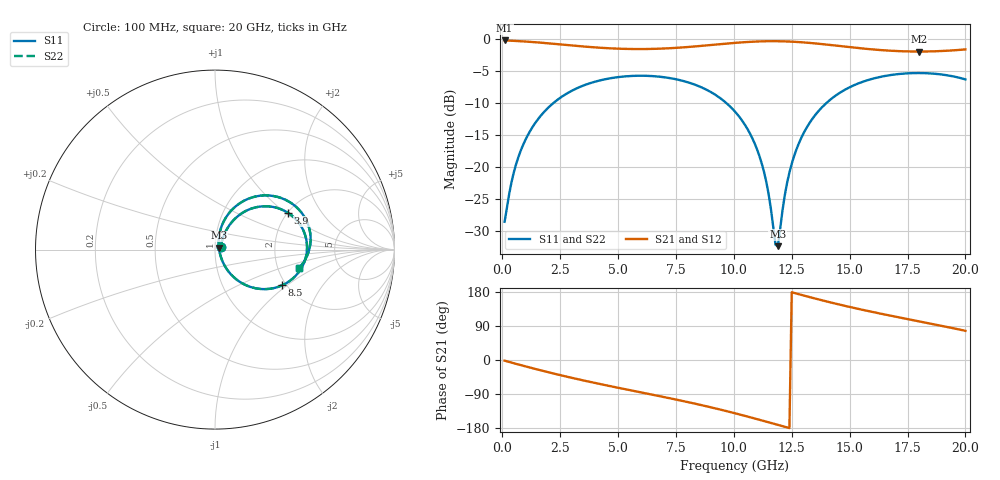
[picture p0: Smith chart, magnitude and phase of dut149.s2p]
! Touchstone file exported from HFSS 2026.1.0
!  File:  C:/ffzhzh/LocalFiles/Ansys_Project_Files/temp_train_TSV_RDL_149_1783051980_45820.aedt
!  Generated:  12:22:38 PM Jul  3, 2026
!  Design:  TSV_RDL
!  Project:  temp_train_TSV_RDL_149_1783051980_45820
! Variables:
!  h_bsmrdl = 5.58um
!  h_ox = 20um
!  h_rdl = 5um
!  h_sub = 71.91um
!  h_tmrdl = 2.12um
!  h_tsv = 71.91um
!  h_via = 3um
!  l_bsmrdl = 112.78um
!  l_sub = 4723.62um
!  l_tmrdl = 963.41um
!  m_sub = 200um
!  pitch = 48.25um
!  r_tsv = 13.75um
!  s_tmrdl = 10um
!  w_bsmrdl = 23.95um
!  w_sub = 500um
!  w_tmrdl = 19.93um
!  x_tsv_center1 = 973.375um
!  x_tsv_center2 = 1110.105um
!  x_tsv_center3 = 2093.445um
!  x_tsv_center4 = 2230.175um
!  x_tsv_center5 = 3213.515um
!  x_tsv_center6 = 3350.245um
# GHz S MA R 50.000000
! Terminal data exported
! Port[1] = TM_RDL1_1_T1
! Port[2] = TM_RDL5_1_T1
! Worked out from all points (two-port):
!   200 points, 100 MHz to 20 GHz, reference 50 ohm
!   highest |S21| = -0.29 dB at 100 MHz (marker M1); lowest = -2.0 dB at 18 GHz (marker M2)
!   |S21| within 3 dB of the highest: start of sweep to end of sweep
!   lowest |S11| = -32.4 dB at 11.9 GHz (marker M3), VSWR 1.05, Z = 52.2 + j1.03 ohm
!   |S11| at or under -10 dB: start of sweep to 2.224 GHz; 9.658 GHz to 14.01 GHz (4.355 GHz wide, 36.8 % of centre)
!   |S22| runs from -32.3 to -5.4 dB; largest |S21 - S12| = 1.7e-14
!   S11 on the Smith chart (normalised r, x): 100 MHz: 1.07, +0.03; 3.9 GHz: 2.01, +1.04; 8.5 GHz: 1.91, -0.92; 20 GHz: 2.64, -0.69
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0.1  0.03726 26.0  0.9669 -1.8  0.9669 -1.8  0.03726 26.0
! Gamma 0 0 0 0
! Port Impedance 50 0 50 0
0.6  0.1054 59.1  0.958 -10.3  0.958 -10.3  0.1054 59.1
1.2  0.1899 58.0  0.9431 -20.0  0.9431 -20.0  0.1899 58.0
2.2  0.3137 47.5  0.9113 -35.5  0.9113 -35.5  0.3136 47.5
3.5  0.4301 31.6  0.8676 -53.9  0.8676 -53.9  0.4301 31.6
3.9  0.4553 26.8  0.8562 -59.2  0.8562 -59.2  0.4553 26.8
5.4  0.5088 9.2  0.8302 -78.2  0.8302 -78.2  0.5088 9.2
6.8  0.5042 -7.1  0.8342 -95.5  0.8342 -95.5  0.5042 -7.1
8.5  0.4244 -27.9  0.8739 -117.7  0.8739 -117.7  0.4244 -27.9
10.1  0.263 -49.0  0.9273 -141.3  0.9273 -141.3  0.263 -48.9
10.7  0.1812 -56.1  0.9431 -151.0  0.9431 -151.0  0.1812 -56.1
11.2  0.1069 -59.1  0.9515 -159.3  0.9515 -159.3  0.1069 -59.0
11.5  0.06155 -54.5  0.954 -164.4  0.954 -164.4  0.06157 -54.4
11.8  0.02466 -12.7  0.9543 -169.5  0.9543 -169.5  0.02476 -12.6
11.9  0.02405 24.2  0.9539 -171.2  0.9539 -171.2  0.02417 24.2
12.2  0.05997 69.5  0.9512 -176.2  0.9512 -176.2  0.06004 69.4
12.5  0.1056 74.6  0.9464 178.7  0.9464 178.7  0.1056 74.5
13.4  0.2378 67.2  0.9211 163.9  0.9211 163.9  0.2379 67.2
14.8  0.3993 49.0  0.8655 142.8  0.8655 142.8  0.3993 49.0
16.7  0.5173 25.7  0.8054 117.8  0.8054 117.8  0.5173 25.7
18  0.5386 10.9  0.7923 102.0  0.7923 102.0  0.5386 10.9
20  0.4803 -12.1  0.8234 77.1  0.8234 77.1  0.4804 -12.2
